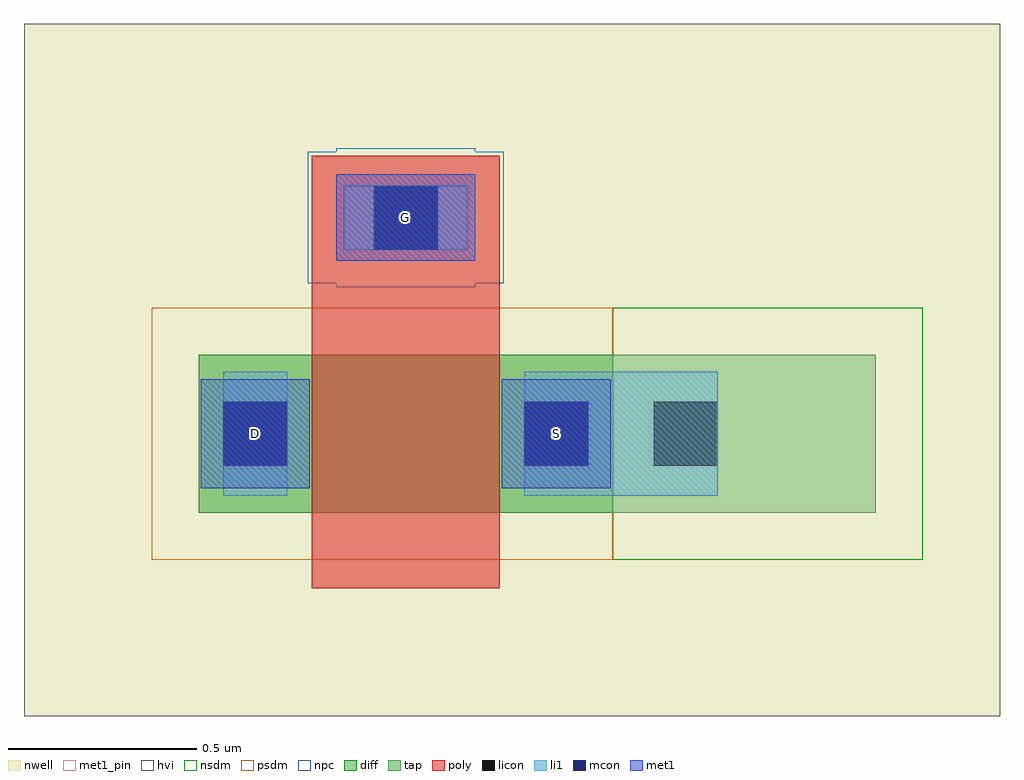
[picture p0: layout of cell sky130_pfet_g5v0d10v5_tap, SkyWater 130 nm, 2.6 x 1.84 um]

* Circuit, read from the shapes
.subckt sky130_pfet_g5v0d10v5_tap D G S
XM1 S G D S sky130_fd_pr__pfet_g5v0d10v5 w=0.42 l=0.5
.ends

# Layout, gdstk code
import gdstk
lib = gdstk.Library(unit=1e-6, precision=1e-09)
def R(c, l, rs):  # rectangles x0, y0, x1, y1
    for r in rs: c.add(gdstk.rectangle(r[:2], r[2:], *l))
nwell = (64, 20)
diff = (65, 20)
tap = (65, 44)
poly = (66, 20)
licon = (66, 44)
li1 = (67, 20)
mcon = (67, 44)
met1_pin = (68, 16)
met1 = (68, 20)
hvi = (75, 20)
nsdm = (93, 44)
psdm = (94, 20)
npc = (95, 20)

pfet = lib.new_cell('pfet')
R(pfet, nwell, [(-0.465,-0.54,1.955,1.3)])
R(pfet, diff, [(0,0,1.1,0.42)])
R(pfet, tap, [(1.1,0,1.49,0.42)])
R(pfet, poly, [(0.3,-0.2,0.8,0.62), (0.3,0.62,0.8,0.95)])
R(pfet, licon, [(0.065,0.125,0.235,0.295), (0.865,0.125,1.035,0.295), (1.21,0.125,1.38,0.295), (0.465,0.7,0.635,0.87)])
R(pfet, li1, [(0.065,0.045,0.235,0.375), (0.865,0.045,1.035,0.375), (1.21,0.045,1.38,0.375), (0.385,0.7,0.715,0.87)])
R(pfet, mcon, [(0.065,0.125,0.235,0.295), (0.865,0.125,1.035,0.295), (0.465,0.7,0.635,0.87)])
R(pfet, met1, [(0.005,0.065,0.295,0.355), (0.805,0.065,1.095,0.355), (0.365,0.67,0.735,0.9)])
R(pfet, hvi, [(-0.465,-0.54,1.955,1.3)])
R(pfet, nsdm, [(1.1,-0.125,1.615,0.545)])
R(pfet, psdm, [(-0.125,-0.125,1.1,0.545)])
R(pfet, npc, [(0.29,0.61,0.81,0.96)])

sky130_pfet_g5v0d10v5_ta = lib.new_cell('sky130_pfet_g5v0d10v5_tap')
R(sky130_pfet_g5v0d10v5_ta, nwell, [(-0.465,-0.54,2.13,1.3)])
R(sky130_pfet_g5v0d10v5_ta, tap, [(1.1,0,1.8,0.42)])
R(sky130_pfet_g5v0d10v5_ta, li1, [(1.035,0.045,1.21,0.375)])
R(sky130_pfet_g5v0d10v5_ta, met1_pin, [(0.065,0.125,0.235,0.295), (0.865,0.125,1.035,0.295), (0.465,0.7,0.635,0.87)])
R(sky130_pfet_g5v0d10v5_ta, hvi, [(-0.465,-0.54,2.13,1.3)])
R(sky130_pfet_g5v0d10v5_ta, nsdm, [(1.1,-0.125,1.925,0.545)])
R(sky130_pfet_g5v0d10v5_ta, npc, [(0.365,0.6,0.735,0.97)])
sky130_pfet_g5v0d10v5_ta.add(gdstk.Reference(pfet, (0,0)))
sky130_pfet_g5v0d10v5_ta.add(gdstk.Label('D', (0.15,0.21), layer=68, texttype=5))
sky130_pfet_g5v0d10v5_ta.add(gdstk.Label('S', (0.95,0.21), layer=68, texttype=5))
sky130_pfet_g5v0d10v5_ta.add(gdstk.Label('G', (0.55,0.785), layer=68, texttype=5))

lib.write_gds('sky130_pfet_g5v0d10v5_tap.gds')
